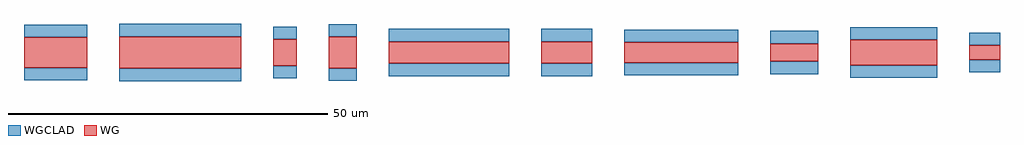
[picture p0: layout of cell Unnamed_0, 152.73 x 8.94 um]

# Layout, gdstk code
import gdstk
lib = gdstk.Library(unit=1e-6, precision=1e-09)
def R(c, l, rs):  # rectangles x0, y0, x1, y1
    for r in rs: c.add(gdstk.rectangle(r[:2], r[2:], *l))
WG = (1, 0)
WGCLAD = (111, 0)

straight_cssym_f7fe636c_ = lib.new_cell('straight_CSsym_f7fe636c_2250_L4785')
R(straight_cssym_f7fe636c_, WG, [(0,-1.125,4.785,1.125)])
R(straight_cssym_f7fe636c_, WGCLAD, [(0,-3.125,4.785,-1.125), (0,1.125,4.785,3.125)])

c_straight_cssym_f7fe636c_ = lib.new_cell('straight_CSsym_f7fe636c_3946_L13622')
R(c_straight_cssym_f7fe636c_, WG, [(0,-1.973,13.622,1.973)])
R(c_straight_cssym_f7fe636c_, WGCLAD, [(0,-3.973,13.622,-1.973), (0,1.973,13.622,3.973)])

c_straight_cssym_f7fe636c__ = lib.new_cell('straight_CSsym_f7fe636c_2800_L7581')
R(c_straight_cssym_f7fe636c__, WG, [(0,-1.4,7.581,1.4)])
R(c_straight_cssym_f7fe636c__, WGCLAD, [(0,-3.4,7.581,-1.4), (0,1.4,7.581,3.4)])

c_straight_cssym_f7fe636c___ = lib.new_cell('straight_CSsym_f7fe636c_3146_L17798')
R(c_straight_cssym_f7fe636c___, WG, [(0,-1.573,17.798,1.573)])
R(c_straight_cssym_f7fe636c___, WGCLAD, [(0,-3.573,17.798,-1.573), (0,1.573,17.798,3.573)])

c_straight_cssym_f7fe636c____ = lib.new_cell('straight_CSsym_f7fe636c_3362_L7969')
R(c_straight_cssym_f7fe636c____, WG, [(0,-1.681,7.969,1.681)])
R(c_straight_cssym_f7fe636c____, WGCLAD, [(0,-3.681,7.969,-1.681), (0,1.681,7.969,3.681)])

c_straight_cssym_f7fe636c_____ = lib.new_cell('straight_CSsym_f7fe636c_3410_L18867')
R(c_straight_cssym_f7fe636c_____, WG, [(0,-1.705,18.867,1.705)])
R(c_straight_cssym_f7fe636c_____, WGCLAD, [(0,-3.705,18.867,-1.705), (0,1.705,18.867,3.705)])

c_straight_cssym_f7fe636c______ = lib.new_cell('straight_CSsym_f7fe636c_4876_L4404')
R(c_straight_cssym_f7fe636c______, WG, [(0,-2.438,4.404,2.438)])
R(c_straight_cssym_f7fe636c______, WGCLAD, [(0,-4.438,4.404,-2.438), (0,2.438,4.404,4.438)])

c_straight_cssym_f7fe636c_______ = lib.new_cell('straight_CSsym_f7fe636c_4134_L3701')
R(c_straight_cssym_f7fe636c_______, WG, [(0,-2.067,3.701,2.067)])
R(c_straight_cssym_f7fe636c_______, WGCLAD, [(0,-4.067,3.701,-2.067), (0,2.067,3.701,4.067)])

c_straight_cssym_f7fe636c________ = lib.new_cell('straight_CSsym_f7fe636c_4936_L19122')
R(c_straight_cssym_f7fe636c________, WG, [(0,-2.468,19.122,2.468)])
R(c_straight_cssym_f7fe636c________, WGCLAD, [(0,-4.468,19.122,-2.468), (0,2.468,19.122,4.468)])

c_straight_cssym_f7fe636c_________ = lib.new_cell('straight_CSsym_f7fe636c_4704_L9877')
R(c_straight_cssym_f7fe636c_________, WG, [(0,-2.352,9.877,2.352)])
R(c_straight_cssym_f7fe636c_________, WGCLAD, [(0,-4.352,9.877,-2.352), (0,2.352,9.877,4.352)])

unnamed_0 = lib.new_cell('Unnamed_0')
unnamed_0.add(gdstk.Reference(straight_cssym_f7fe636c_, (147.941,9.468)))
unnamed_0.add(gdstk.Reference(c_straight_cssym_f7fe636c_, (129.319,9.468)))
unnamed_0.add(gdstk.Reference(c_straight_cssym_f7fe636c__, (116.738,9.468)))
unnamed_0.add(gdstk.Reference(c_straight_cssym_f7fe636c___, (93.94,9.468)))
unnamed_0.add(gdstk.Reference(c_straight_cssym_f7fe636c____, (80.971,9.468)))
unnamed_0.add(gdstk.Reference(c_straight_cssym_f7fe636c_____, (57.104,9.468)))
unnamed_0.add(gdstk.Reference(c_straight_cssym_f7fe636c______, (47.7,9.468)))
unnamed_0.add(gdstk.Reference(c_straight_cssym_f7fe636c_______, (38.999,9.468)))
unnamed_0.add(gdstk.Reference(c_straight_cssym_f7fe636c________, (14.877,9.468)))
unnamed_0.add(gdstk.Reference(c_straight_cssym_f7fe636c_________, (0,9.468)))

lib.write_gds('Unnamed_0.gds')
